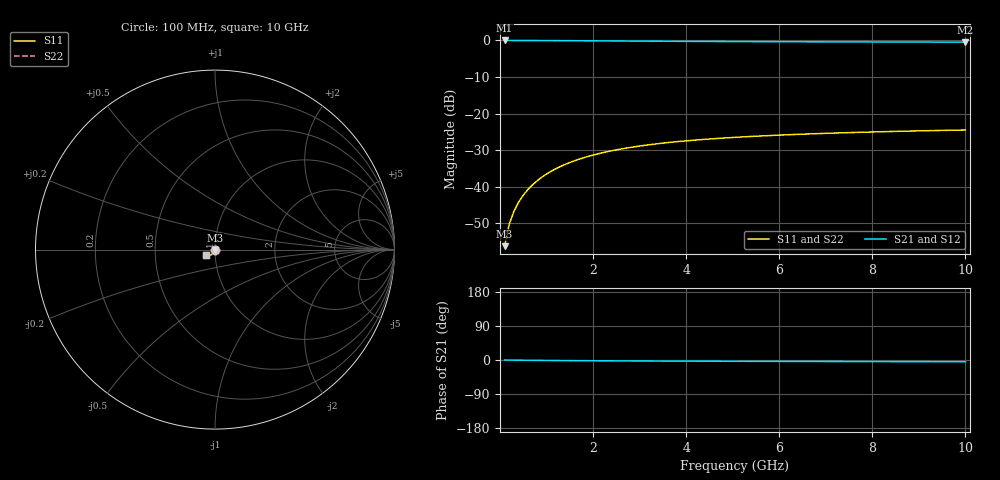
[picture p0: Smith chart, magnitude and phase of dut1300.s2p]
! Touchstone file exported from HFSS 2024.1.0
!  File:  C:/UserFiles/LocalFiles/RDL_TSV_Batchsim/temp_TSV1_1300_1780372463.aedt
!  Generated:  11:59:15 AM Jun  2, 2026
!  Design:  TSV1
!  Project:  temp_TSV1_1300_1780372463
!  Setup:  Setup1
!  Solution:  Sweep
! Variables:
!  dtsv = 13.76um
!  hbump = 3um
!  htsv = 68.19um
!  lrdl = 252.1521522um
!  p = 40
!  p1 = 41.49um
!  t = 500um
!  trdl = 3um
!  wrdl = 24.89489489um
# GHz S MA R 50.000000
! Terminal data exported
! Port[1] = TSV22_T1
! Port[2] = TSV22_T2
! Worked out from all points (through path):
!   100 points, 100 MHz to 10 GHz, reference 50 ohm
!   highest |S21| = 0.00 dB at 100 MHz (marker M1); lowest = -0.5 dB at 10 GHz (marker M2)
!   lowest |S11| = -56.3 dB at 100 MHz (marker M3), VSWR 1.00, Z = 50 - j0.153 ohm
!   |S11| at or under -10 dB: start of sweep to end of sweep
!   |S22| runs from -56.3 to -24.5 dB; largest |S21 - S12| = 4e-15
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0.1  0.00153 -88.4  0.9999 -0.1  0.9999 -0.1  0.00153 -88.4
! Gamma 0 0 0 0
! Port Impedance 50 0 50 0
0.2  0.00306 -91.5  0.9998 -0.2  0.9998 -0.2  0.00306 -91.5
0.3  0.004588 -93.5  0.9996 -0.4  0.9996 -0.4  0.004588 -93.5
0.4  0.006109 -95.2  0.9993 -0.5  0.9993 -0.5  0.006109 -95.2
0.5  0.007617 -96.8  0.9989 -0.6  0.9989 -0.6  0.007617 -96.8
0.6  0.009108 -98.3  0.9985 -0.7  0.9985 -0.7  0.009108 -98.3
0.7  0.01058 -99.7  0.998 -0.8  0.998 -0.8  0.01058 -99.7
0.8  0.01203 -101.2  0.9975 -0.9  0.9975 -0.9  0.01203 -101.2
0.9  0.01345 -102.5  0.9969 -1.0  0.9969 -1.0  0.01345 -102.5
1.1  0.01621 -105.2  0.9955 -1.2  0.9955 -1.2  0.01621 -105.2
1.4  0.02012 -109.0  0.9932 -1.5  0.9932 -1.5  0.02012 -109.0
1.6  0.02255 -111.4  0.9915 -1.7  0.9915 -1.7  0.02255 -111.4
1.8  0.02485 -113.7  0.9898 -1.8  0.9898 -1.8  0.02485 -113.7
2.1  0.02804 -116.9  0.9872 -2.1  0.9872 -2.1  0.02804 -116.9
2.5  0.03183 -120.7  0.9837 -2.3  0.9837 -2.3  0.03183 -120.7
2.9  0.03514 -124.1  0.9803 -2.5  0.9803 -2.5  0.03514 -124.1
3.4  0.0387 -127.9  0.9764 -2.8  0.9764 -2.8  0.0387 -127.9
4.2  0.04333 -132.7  0.9708 -3.1  0.9708 -3.1  0.04333 -132.7
5.1  0.04741 -137.0  0.9656 -3.4  0.9656 -3.4  0.04741 -137.0
6.7  0.05274 -142.6  0.9583 -3.8  0.9583 -3.8  0.05274 -142.6
8.4  0.05675 -146.8  0.9528 -4.3  0.9528 -4.3  0.05675 -146.8
10  0.05953 -149.8  0.949 -4.7  0.949 -4.7  0.05953 -149.8
